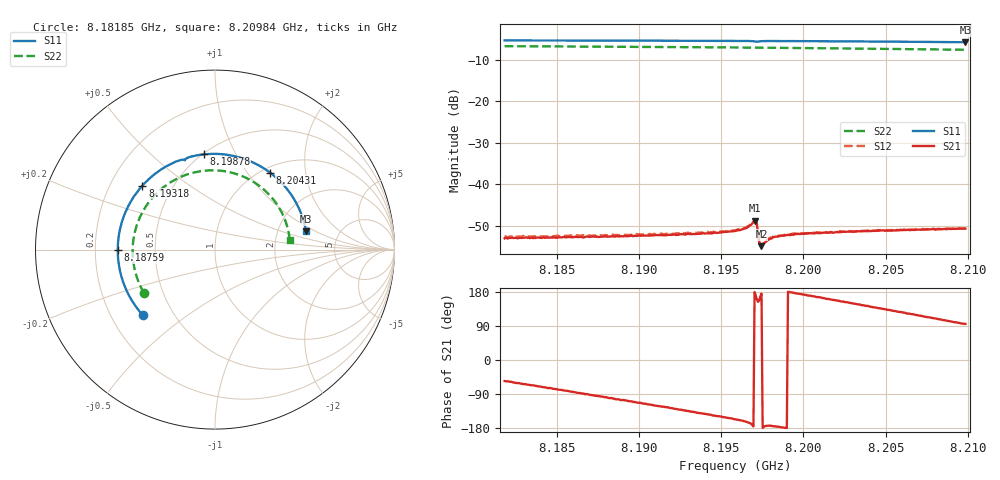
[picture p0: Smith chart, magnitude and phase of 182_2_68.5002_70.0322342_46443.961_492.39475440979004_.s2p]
#  HZ  S  RI  R  50.00
! Rohde & Schwarz Vector Network Analyzer
! Rohde-Schwarz,ZNB20-2Port,1311601062101988,3.16
! Created: UTC 3/20/2024, 4:56:45 PM
! freq[Hz]  re:S11  im:S11  re:S21  im:S21  re:S12  im:S12  re:S22  im:S22
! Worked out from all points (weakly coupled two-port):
!   401 points, 8.18185 GHz to 8.20984 GHz, reference 50 ohm
!   highest |S21| = -48.77 dB at 8.19703 GHz (marker M1); lowest = -54.9 dB at 8.19745 GHz (marker M2)
!   lowest |S11| = -5.7 dB at 8.20984 GHz (marker M3), VSWR 3.14, Z = 145 + j40 ohm
!   |S11| at or under -10 dB: nowhere
!   |S22| runs from -7.5 to -6.7 dB; largest |S21 - S12| = 0.00019
!   S11 on the Smith chart (normalised r, x): 8.18185 GHz: 0.34, -0.35; 8.18759 GHz: 0.30, -0.00; 8.19318 GHz: 0.34, +0.34; 8.19878 GHz: 0.51, +0.75; 8.20431 GHz: 1.09, +1.29; 8.20984 GHz: 2.89, +0.80
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8.181847e9  -0.4018 -0.3659  0.00127 -0.00184  0.00133 -0.00193  -0.395 -0.2429
8.184296e9  -0.4945 -0.2242  0.000694 -0.00216  0.000675 -0.00226  -0.4462 -0.117
8.186536e9  -0.5372 -0.0745  6.69e-05 -0.00232  3.63e-05 -0.0024  -0.4588 0.00618
8.187586e9  -0.5419 -0.00117  -0.000221 -0.00232  -0.000277 -0.00242  -0.4534 0.0641
8.189405e9  -0.5267 0.1249  -0.000767 -0.00227  -0.000813 -0.00231  -0.4264 0.1611
8.191225e9  -0.4821 0.2441  -0.00129 -0.00208  -0.00141 -0.0021  -0.3787 0.25
8.193185e9  -0.404 0.3571  -0.0018 -0.00175  -0.00192 -0.00174  -0.3064 0.3311
8.195844e9  -0.2565 0.4718  -0.00251 -0.0011  -0.00261 -0.00102  -0.1806 0.4092
8.196544e9  -0.2105 0.4929  -0.00285 -0.000863  -0.00294 -0.000741  -0.1436 0.4225
8.197034e9  -0.1737 0.5005  -0.00364 5.8e-05  -0.00373 0.000214  -0.1171 0.4296
8.197104e9  -0.1692 0.4989  -0.00357 0.000628  -0.00362 0.000771  -0.1132 0.4305
8.197314e9  -0.1657 0.5024  -0.00187 0.000762  -0.00188 0.00085  -0.1021 0.4329
8.197384e9  -0.1619 0.5063  -0.00178 0.00039  -0.00179 0.00043  -0.098 0.4337
8.197454e9  -0.1571 0.5094  -0.00179 0.00015  -0.00182 0.000194  -0.0943 0.4344
8.198084e9  -0.1117 0.5232  -0.00222 -0.000224  -0.00228 -0.000164  -0.059 0.4396
8.198784e9  -0.0621 0.5309  -0.00242 -6.71e-05  -0.00244 4.84e-05  -0.0194 0.4419
8.200534e9  0.0616 0.5289  -0.00251 0.000522  -0.00253 0.000611  0.0792 0.4319
8.202423e9  0.1906 0.4948  -0.00242 0.00116  -0.00236 0.0013  0.1808 0.3961
8.204313e9  0.3069 0.4291  -0.00208 0.00182  -0.00203 0.00186  0.2712 0.3355
8.205223e9  0.3559 0.3872  -0.00185 0.00206  -0.00182 0.00215  0.3091 0.2984
8.207602e9  0.4567 0.2521  -0.00111 0.00265  -0.00102 0.00268  0.384 0.1807
8.209842e9  0.5072 0.1012  -0.000273 0.00291  -0.000153 0.00298  0.4165 0.0511
